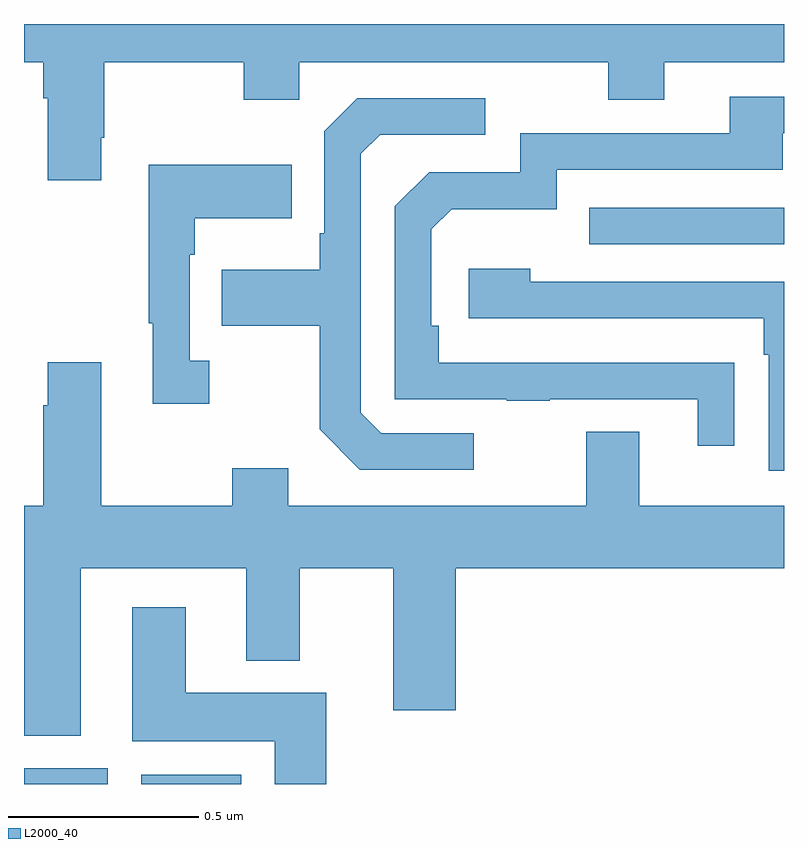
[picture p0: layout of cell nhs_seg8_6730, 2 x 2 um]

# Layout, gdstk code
import gdstk
lib = gdstk.Library(unit=1e-6, precision=1e-09)
def R(c, l, rs):  # rectangles x0, y0, x1, y1
    for r in rs: c.add(gdstk.rectangle(r[:2], r[2:], *l))
def P(c, l, *ps):  # polygons
    for p in ps: c.add(gdstk.Polygon(p, *l))
L2000_40 = (2000, 40)

nhs_seg8_6730 = lib.new_cell('nhs_seg8_6730')
R(nhs_seg8_6730, L2000_40, [(200,1147.9,200.221,1147.942), (200.309,1147.9,200.572,1147.924), (201.487,1149.321,202,1149.417)])
P(nhs_seg8_6730, L2000_40, [(200.203,1149.601),(200.211,1149.601),(200.211,1149.8),(200.578,1149.8),(200.578,1149.701),(200.724,1149.701),(200.724,1149.8),(201.538,1149.8),(201.538,1149.701),(201.685,1149.701),(201.685,1149.8),(202,1149.8),(202,1149.9),(200,1149.9),(200,1149.8),(200.051,1149.8),(200.051,1149.704),(200.063,1149.704),(200.063,1149.489),(200.203,1149.489)],
  [(201.869,1149.008),(201.767,1149.008),(201.767,1149.009),(201.092,1149.009),(201.092,1149.106),(201.072,1149.106),(201.072,1149.36),(201.125,1149.413),(201.402,1149.413),(201.402,1149.516),(201.997,1149.516),(201.997,1149.612),(202,1149.612),(202,1149.708),(201.857,1149.708),(201.857,1149.612),(201.306,1149.612),(201.306,1149.51),(201.066,1149.51),(200.976,1149.42),(200.976,1148.913),(201.271,1148.913),(201.271,1148.908),(201.383,1148.908),(201.383,1148.913),(201.773,1148.913),(201.773,1148.79),(201.869,1148.79)],
  [(201.184,1148.823),(200.94,1148.823),(200.886,1148.877),(200.886,1149.558),(200.937,1149.609),(201.214,1149.609),(201.214,1149.705),(200.877,1149.705),(200.79,1149.618),(200.79,1149.349),(200.778,1149.349),(200.778,1149.253),(200.521,1149.253),(200.521,1149.106),(200.778,1149.106),(200.778,1148.833),(200.883,1148.727),(201.184,1148.727)],
  [(200.488,1149.014),(200.436,1149.014),(200.436,1149.293),(200.449,1149.293),(200.449,1149.389),(200.705,1149.389),(200.705,1149.529),(200.328,1149.529),(200.328,1149.113),(200.339,1149.113),(200.339,1148.901),(200.488,1148.901)],
  [(202,1149.222),(201.332,1149.222),(201.332,1149.256),(201.171,1149.256),(201.171,1149.126),(201.947,1149.126),(201.947,1149.029),(201.96,1149.029),(201.96,1148.724),(202,1148.724)],
  [(200.149,1148.468),(200.585,1148.468),(200.585,1148.225),(200.725,1148.225),(200.725,1148.468),(200.972,1148.468),(200.972,1148.094),(201.136,1148.094),(201.136,1148.468),(202,1148.468),(202,1148.632),(201.619,1148.632),(201.619,1148.827),(201.479,1148.827),(201.479,1148.632),(200.695,1148.632),(200.695,1148.731),(200.548,1148.731),(200.548,1148.632),(200.203,1148.632),(200.203,1149.01),(200.063,1149.01),(200.063,1148.897),(200.051,1148.897),(200.051,1148.632),(200,1148.632),(200,1148.027),(200.149,1148.027)],
  [(200.795,1148.14),(200.425,1148.14),(200.425,1148.365),(200.285,1148.365),(200.285,1148.012),(200.66,1148.012),(200.66,1147.9),(200.795,1147.9)])

lib.write_gds('nhs_seg8_6730.gds')
